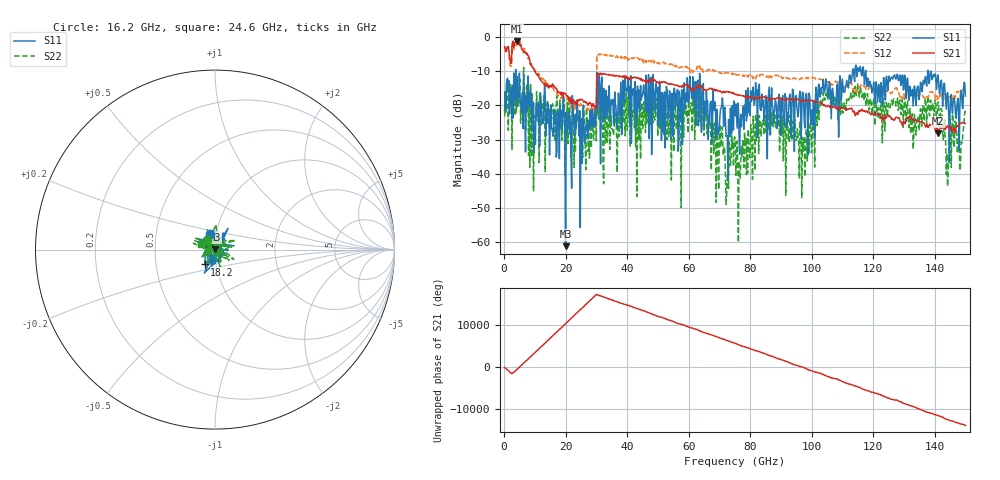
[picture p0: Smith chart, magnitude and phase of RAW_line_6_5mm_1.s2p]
!  2-Port S-parameters saved by WinCal
! VAR MeasName=S-Parameters (CALIBRATED_DATA) read from VNA (MS4647B)
! VAR MeasDate=27-Apr-22 15:21:19
! VAR NAME=RAW_line_6.5mm_1
! VAR FILENAME=RAW_line_6.5mm_1.S2P
! VAR DATE=27-Apr-22 15:21:19
! VAR PHYS_PORTS=1,2
! VAR ObjTypeName=DATASET
! VAR IndexType=Frequency
! VAR ChuckHeaterState=Unknown
! VAR ChuckTemp=NaN
! VAR ChuckTempUnits=Unknown
# Hz S RI R 50
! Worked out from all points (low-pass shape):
!   750 points, 200 MHz to 150 GHz, reference 50 ohm
!   highest |S21| = -1.08 dB at 4.2 GHz (marker M1); lowest = -28.1 dB at 141.2 GHz (marker M2)
!   |S21| within 3 dB of the highest: 645.1 MHz to 1.592 GHz (946.5 MHz wide, 84.6 % of centre); 2.537 GHz to 6.248 GHz (3.711 GHz wide, 84.5 % of centre)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
!   lowest |S11| = -61.3 dB at 20 GHz (marker M3), VSWR 1.00, Z = 49.9 + j0.0627 ohm
!   |S11| at or under -10 dB: 3.814 GHz to 113.3 GHz (109.5 GHz wide, 187 % of centre); 117.6 GHz to 137.8 GHz (20.15 GHz wide, 15.8 % of centre); 138.8 GHz to end of sweep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
!   |S22| runs from -60.1 to -8.8 dB; largest |S21 - S12| = 1.7
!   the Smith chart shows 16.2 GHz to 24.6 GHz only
!   S11 on the Smith chart (normalised r, x): 16.2 GHz: 0.93, +0.16; 18.2 GHz: 0.88, -0.15; 24.6 GHz: 0.86, +0.07
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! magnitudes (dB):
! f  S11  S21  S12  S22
! 200 MHz  -21.4  -2.7  -2.6  -23.3
! 4.2 GHz  -11.5  -1.1  -1.7  -12.1
! 16.2 GHz  -21.0  -14.2  -15.4  -23.0
! 18.2 GHz  -20.0  -16.1  -17.3  -18.5
! 20 GHz  -61.3  -16.6  -17.6  -26.9
! 24.6 GHz  -21.5  -18.6  -20.2  -21.5
! 25.2 GHz  -23.9  -18.2  -19.9  -28.5
! 29.4 GHz  -21.2  -20.5  -22.1  -21.9
! 30.8 GHz  -14.2  -10.8  -5.1  -24.0
! 50.2 GHz  -14.6  -13.4  -7.7  -19.0
! 62.8 GHz  -13.2  -14.4  -8.6  -26.1
! 70.6 GHz  -20.6  -16.0  -10.5  -30.7
! 72.4 GHz  -28.9  -15.9  -10.4  -45.8
! 75.2 GHz  -23.0  -16.6  -10.9  -30.6
! 87.6 GHz  -25.1  -17.9  -11.1  -26.2
! 97.4 GHz  -17.8  -18.8  -11.9  -31.1
! 100.2 GHz  -21.2  -18.6  -11.8  -29.6
! 105.2 GHz  -17.7  -20.0  -13.1  -17.6
! 125.2 GHz  -11.3  -23.3  -16.4  -19.9
! 141.2 GHz  -12.2  -28.1  -18.4  -18.9
! 144 GHz  -17.2  -26.1  -16.8  -34.0
! 150 GHz  -17.2  -25.3  -16.1  -22.4
